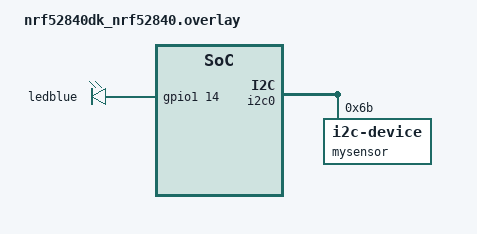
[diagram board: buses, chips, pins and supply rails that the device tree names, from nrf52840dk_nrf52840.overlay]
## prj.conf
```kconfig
#
# Copyright (c) 2019 Nordic Semiconductor ASA
#
# SPDX-License-Identifier: LicenseRef-Nordic-5-Clause
#
CONFIG_NCS_SAMPLES_DEFAULTS=y

CONFIG_BT=y
CONFIG_BT_DEBUG_LOG=y
CONFIG_BT_MAX_CONN=2
CONFIG_BT_MAX_PAIRED=2
CONFIG_BT_L2CAP_TX_BUF_COUNT=5
CONFIG_BT_PERIPHERAL=y
CONFIG_BT_DEVICE_NAME="Saul_HIDS_mouse"
CONFIG_BT_DEVICE_APPEARANCE=962

CONFIG_BT_BAS=y
CONFIG_BT_HIDS=y
CONFIG_BT_HIDS_MAX_CLIENT_COUNT=2
CONFIG_BT_GATT_UUID16_POOL_SIZE=40
CONFIG_BT_GATT_CHRC_POOL_SIZE=20

CONFIG_BT_CONN_CTX=y

CONFIG_BT_DIS=y
CONFIG_BT_DIS_PNP=y
CONFIG_BT_DIS_MANUF="NordicSemiconductor"
CONFIG_BT_DIS_PNP_VID_SRC=2
CONFIG_BT_DIS_PNP_VID=0x1915
CONFIG_BT_DIS_PNP_PID=0xEEEE
CONFIG_BT_DIS_PNP_VER=0x0100

CONFIG_MAIN_STACK_SIZE=1536
CONFIG_SYSTEM_WORKQUEUE_STACK_SIZE=2048

CONFIG_DK_LIBRARY=y


# Enable the UART driver
#CONFIG_UART_ASYNC_API=y
#CONFIG_NRFX_UARTE0=y
#CONFIG_NRFX_UARTE1=y
CONFIG_SERIAL=y
CONFIG_GPIO=y
CONFIG_I2C=y
CONFIG_CBPRINTF_FP_SUPPORT=y
```

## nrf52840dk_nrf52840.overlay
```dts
// To get started, press Ctrl+Space to bring up the completion menu and view the available nodes.

// You can also use the buttons in the sidebar to perform actions on nodes.
// Actions currently available include:

// * Enabling / disabling the node
// * Adding the bus to a bus
// * Removing the node
// * Connecting ADC channels

// For more help, browse the DeviceTree documentation at https://docs.zephyrproject.org/latest/guides/dts/index.html
// You can also visit the nRF DeviceTree extension documentation at https://nrfconnect.github.io/vscode-nrf-connect/devicetree/nrfdevicetree.html

/ {
	leds {
		ledblue {
			gpios = <&gpio1 14 0>;
		};
	};
};


/ {
	aliases {
		ledblue = &{/leds/ledblue/};       		
	};
};

&uart0_default {
	group2 {
		psels = <NRF_PSEL(UART_CTS, 0, 7)>, <NRF_PSEL(UART_RX, 0, 24)>;
        bias-pull-up;
	};
};

&uart0_default {
	group1 {
		psels = <NRF_PSEL(UART_TX, 0, 25)>, <NRF_PSEL(UART_RTS, 0, 5)>;
	};
};


&i2c0_default {
	group1 {
		psels = <NRF_PSEL(TWIM_SDA, 0, 6)>, <NRF_PSEL(TWIM_SCL, 0, 26)>;
	};
};

&i2c0 {  
    mysensor: mysensor@6B{
        compatible = "i2c-device";
        status = "okay";
        reg = < 0x6B >;
    };
};
```

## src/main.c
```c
/*
 * Copyright (c) 2018 Nordic Semiconductor ASA
 *
 * SPDX-License-Identifier: LicenseRef-Nordic-5-Clause
 */

#include <zephyr/types.h>
#include <stddef.h>
#include <string.h>
#include <errno.h>
#include <zephyr/sys/printk.h>
#include <zephyr/sys/byteorder.h>
#include <zephyr/kernel.h>
#include <zephyr/drivers/gpio.h>
#include <soc.h>
#include <assert.h>

#include <zephyr/settings/settings.h>

#include <zephyr/bluetooth/bluetooth.h>
#include <zephyr/bluetooth/hci.h>
#include <zephyr/bluetooth/conn.h>
#include <zephyr/bluetooth/uuid.h>
#include <zephyr/bluetooth/gatt.h>

#include <zephyr/bluetooth/services/bas.h>
#include <bluetooth/services/hids.h>
#include <zephyr/bluetooth/services/dis.h>
//#include <dk_buttons_and_leds.h>

/*Sauls code*/
#include <stdlib.h>
#include "pin_manager.h"
#include "ism330.h"

#define SLEEP_TIME   500

#define FLAG_MOVEMENT 0
#define FLAG_SCROLL 1
#define FLAG_BUTTON 2

int ISMupdate(void);
void mouse_scroll_send(int8_t scroll);
/*Sauls code ends here*/


#define DEVICE_NAME     CONFIG_BT_DEVICE_NAME
#define DEVICE_NAME_LEN (sizeof(DEVICE_NAME) - 1)

#define BASE_USB_HID_SPEC_VERSION   0x0101

/* Number of pixels by which the cursor is moved when a button is pushed. */
#define MOVEMENT_SPEED              5
/* Number of input reports in this application. */
#define INPUT_REPORT_COUNT          3
/* Length of Mouse Input Report containing button data. */
#define INPUT_REP_BUTTONS_LEN       3
/* Length of Mouse Input Report containing movement data. */
#define INPUT_REP_MOVEMENT_LEN      3
/* Length of Mouse Input Report containing media player data. */
#define INPUT_REP_MEDIA_PLAYER_LEN  1
/* Index of Mouse Input Report containing button data. */
#define INPUT_REP_BUTTONS_INDEX     0
/* Index of Mouse Input Report containing movement data. */
#define INPUT_REP_MOVEMENT_INDEX    1
/* Index of Mouse Input Report containing media player data. */
#define INPUT_REP_MPLAYER_INDEX     2
/* Id of reference to Mouse Input Report containing button data. */
#define INPUT_REP_REF_BUTTONS_ID    1
/* Id of reference to Mouse Input Report containing movement data. */
#define INPUT_REP_REF_MOVEMENT_ID   2
/* Id of reference to Mouse Input Report containing media player data. */
#define INPUT_REP_REF_MPLAYER_ID    3

/* HIDs queue size. */
#define HIDS_QUEUE_SIZE 10

/* Key used to move cursor left */
#define KEY_LEFT_MASK   DK_BTN1_MSK
/* Key used to move cursor up */
#define KEY_UP_MASK     DK_BTN2_MSK
/* Key used to move cursor right */
#define KEY_RIGHT_MASK  DK_BTN3_MSK
/* Key used to move cursor down */
#define KEY_DOWN_MASK   DK_BTN4_MSK

/* Key used to accept or reject passkey value */
#define KEY_PAIRING_ACCEPT DK_BTN1_MSK
#define KEY_PAIRING_REJECT DK_BTN2_MSK

/* HIDS instance. */
BT_HIDS_DEF(hids_obj,
	    INPUT_REP_BUTTONS_LEN,
	    INPUT_REP_MOVEMENT_LEN,
	    INPUT_REP_MEDIA_PLAYER_LEN);

static struct k_work hids_work;
struct mouse_pos {
	int16_t x_val;
	int16_t y_val;
	/* Sauls code starts here */
	int16_t scroll;
	uint8_t buttons;
	uint8_t flag;
	/* Sauls code ends here*/
};

/* Mouse movement queue. */
K_MSGQ_DEFINE(hids_queue,
	      sizeof(struct mouse_pos),
	      HIDS_QUEUE_SIZE,
	      4);

#if CONFIG_BT_DIRECTED_ADVERTISING
/* Bonded address queue. */
K_MSGQ_DEFINE(bonds_queue,
	      sizeof(bt_addr_le_t),
	      CONFIG_BT_MAX_PAIRED,
	      4);
#endif

static const struct bt_data ad[] = {
	BT_DATA_BYTES(BT_DATA_GAP_APPEARANCE,
		      (CONFIG_BT_DEVICE_APPEARANCE >> 0) & 0xff,
		      (CONFIG_BT_DEVICE_APPEARANCE >> 8) & 0xff),
	BT_DATA_BYTES(BT_DATA_FLAGS, (BT_LE_AD_GENERAL | BT_LE_AD_NO_BREDR)),
	BT_DATA_BYTES(BT_DATA_UUID16_ALL, BT_UUID_16_ENCODE(BT_UUID_HIDS_VAL),
					  BT_UUID_16_ENCODE(BT_UUID_BAS_VAL)),
};

static const struct bt_data sd[] = {
	BT_DATA(BT_DATA_NAME_COMPLETE, DEVICE_NAME, DEVICE_NAME_LEN),
};

static struct conn_mode {
	struct bt_conn *conn;
	bool in_boot_mode;
} conn_mode[CONFIG_BT_HIDS_MAX_CLIENT_COUNT];

static struct k_work adv_work;

static struct k_work pairing_work;
struct pairing_data_mitm {
	struct bt_conn *conn;
	unsigned int passkey;
};

K_MSGQ_DEFINE(mitm_queue,
	      sizeof(struct pairing_data_mitm),
	      CONFIG_BT_HIDS_MAX_CLIENT_COUNT,
	      4);

#if CONFIG_BT_DIRECTED_ADVERTISING
static void bond_find(const struct bt_bond_info *info, void *user_data)
{
	int err;

	/* Filter already connected peers. */
	for (size_t i = 0; i < CONFIG_BT_HIDS_MAX_CLIENT_COUNT; i++) {
		if (conn_mode[i].conn) {
			const bt_addr_le_t *dst =
				bt_conn_get_dst(conn_mode[i].conn);

			if (!bt_addr_le_cmp(&info->addr, dst)) {
				return;
			}
		}
	}

	err = k_msgq_put(&bonds_queue, (void *) &info->addr, K_NO_WAIT);
	if (err) {
		printk("No space in the queue for the bond.\n");
	}
}
#endif

static void advertising_continue(void)
{
	struct bt_le_adv_param adv_param;

#if CONFIG_BT_DIRECTED_ADVERTISING
	bt_addr_le_t addr;

	if (!k_msgq_get(&bonds_queue, &addr, K_NO_WAIT)) {
		char addr_buf[BT_ADDR_LE_STR_LEN];

		adv_param = *BT_LE_ADV_CONN_DIR(&addr);
		adv_param.options |= BT_LE_ADV_OPT_DIR_ADDR_RPA;

		int err = bt_le_adv_start(&adv_param, NULL, 0, NULL, 0);

		if (err) {
			printk("Directed advertising failed to start\n");
			return;
		}

		bt_addr_le_to_str(&addr, addr_buf, BT_ADDR_LE_STR_LEN);
		printk("Direct advertising to %s started\n", addr_buf);
	} else
#endif
	{
		int err;

		adv_param = *BT_LE_ADV_CONN;
		adv_param.options |= BT_LE_ADV_OPT_ONE_TIME;
		err = bt_le_adv_start(&adv_param, ad, ARRAY_SIZE(ad),
				  sd, ARRAY_SIZE(sd));
		if (err) {
			printk("Advertising failed to start (err %d)\n", err);
			return;
		}

		printk("Regular advertising started\n");
	}
}

static void advertising_start(void)
{
#if CONFIG_BT_DIRECTED_ADVERTISING
	k_msgq_purge(&bonds_queue);
	bt_foreach_bond(BT_ID_DEFAULT, bond_find, NULL);
#endif

	k_work_submit(&adv_work);
}

static void advertising_process(struct k_work *work)
{
	advertising_continue();
}

static void pairing_process(struct k_work *work)
{
	int err;
	struct pairing_data_mitm pairing_data;

	char addr[BT_ADDR_LE_STR_LEN];

	err = k_msgq_peek(&mitm_queue, &pairing_data);
	if (err) {
		return;
	}

	bt_addr_le_to_str(bt_conn_get_dst(pairing_data.conn),
			  addr, sizeof(addr));

	printk("Passkey for %s: %06u\n", addr, pairing_data.passkey);
	printk("Press Button 1 to confirm, Button 2 to reject.\n");
}


static void insert_conn_object(struct bt_conn *conn)
{
	for (size_t i = 0; i < CONFIG_BT_HIDS_MAX_CLIENT_COUNT; i++) {
		if (!conn_mode[i].conn) {
			conn_mode[i].conn = conn;
			conn_mode[i].in_boot_mode = false;

			return;
		}
	}

	printk("Connection object could not be inserted %p\n", conn);
}


static bool is_conn_slot_free(void)
{
	for (size_t i = 0; i < CONFIG_BT_HIDS_MAX_CLIENT_COUNT; i++) {
		if (!conn_mode[i].conn) {
			return true;
		}
	}

	return false;
}


static void connected(struct bt_conn *conn, uint8_t err)
{
	char addr[BT_ADDR_LE_STR_LEN];

	bt_addr_le_to_str(bt_conn_get_dst(conn), addr, sizeof(addr));

	if (err) {
		if (err == BT_HCI_ERR_ADV_TIMEOUT) {
			printk("Direct advertising to %s timed out\n", addr);
			k_work_submit(&adv_work);
		} else {
			printk("Failed to connect to %s (%u)\n", addr, err);
		}
		return;
	}

	printk("Connected %s\n", addr);

	err = bt_hids_connected(&hids_obj, conn);

	if (err) {
		printk("Failed to notify HID service about connection\n");
		return;
	}

	insert_conn_object(conn);

	if (is_conn_slot_free()) {
		advertising_start();
	}
}


static void disconnected(struct bt_conn *conn, uint8_t reason)
{
	int err;
	char addr[BT_ADDR_LE_STR_LEN];

	bt_addr_le_to_str(bt_conn_get_dst(conn), addr, sizeof(addr));

	printk("Disconnected from %s (reason %u)\n", addr, reason);

	err = bt_hids_disconnected(&hids_obj, conn);

	if (err) {
		printk("Failed to notify HID service about disconnection\n");
	}

	for (size_t i = 0; i < CONFIG_BT_HIDS_MAX_CLIENT_COUNT; i++) {
		if (conn_mode[i].conn == conn) {
			conn_mode[i].conn = NULL;
			break;
		}
	}

	advertising_start();
}


#ifdef CONFIG_BT_HIDS_SECURITY_ENABLED
static void security_changed(struct bt_conn *conn, bt_security_t level,
			     enum bt_security_err err)
{
	char addr[BT_ADDR_LE_STR_LEN];

	bt_addr_le_to_str(bt_conn_get_dst(conn), addr, sizeof(addr));

	if (!err) {
		printk("Security changed: %s level %u\n", addr, level);
	} else {
		printk("Security failed: %s level %u err %d\n", addr, level,
			err);
	}
}
#endif


BT_CONN_CB_DEFINE(conn_callbacks) = {
	.connected = connected,
	.disconnected = disconnected,
#ifdef CONFIG_BT_HIDS_SECURITY_ENABLED
	.security_changed = security_changed,
#endif
};


static void hids_pm_evt_handler(enum bt_hids_pm_evt evt,
				struct bt_conn *conn)
{
	char addr[BT_ADDR_LE_STR_LEN];
	size_t i;

	for (i = 0; i < CONFIG_BT_HIDS_MAX_CLIENT_COUNT; i++) {
		if (conn_mode[i].conn == conn) {
			break;
		}
	}

	if (i >= CONFIG_BT_HIDS_MAX_CLIENT_COUNT) {
		return;
	}

	bt_addr_le_to_str(bt_conn_get_dst(conn), addr, sizeof(addr));

	switch (evt) {
	case BT_HIDS_PM_EVT_BOOT_MODE_ENTERED:
		printk("Boot mode entered %s\n", addr);
		conn_mode[i].in_boot_mode = true;
		break;

	case BT_HIDS_PM_EVT_REPORT_MODE_ENTERED:
		printk("Report mode entered %s\n", addr);
		conn_mode[i].in_boot_mode = false;
		break;

	default:
		break;
	}
}


static void hid_init(void)
{
	int err;
	struct bt_hids_init_param hids_init_param = { 0 };
	struct bt_hids_inp_rep *hids_inp_rep;
	static const uint8_t mouse_movement_mask[DIV_ROUND_UP(INPUT_REP_MOVEMENT_LEN, 8)] = {0};

	static const uint8_t report_map[] = {
		0x05, 0x01,     /* Usage Page (Generic Desktop) */
		0x09, 0x02,     /* Usage (Mouse) */

		0xA1, 0x01,     /* Collection (Application) */

		/* Report ID 1: Mouse buttons + scroll/pan */
		0x85, 0x01,       /* Report Id 1 */
		0x09, 0x01,       /* Usage (Pointer) */
		0xA1, 0x00,       /* Collection (Physical) */
		0x95, 0x05,       /* Report Count (3) */
		0x75, 0x01,       /* Report Size (1) */
		0x05, 0x09,       /* Usage Page (Buttons) */
		0x19, 0x01,       /* Usage Minimum (01) */
		0x29, 0x05,       /* Usage Maximum (05) */
		0x15, 0x00,       /* Logical Minimum (0) */
		0x25, 0x01,       /* Logical Maximum (1) */
		0x81, 0x02,       /* Input (Data, Variable, Absolute) */
		0x95, 0x01,       /* Report Count (1) */
		0x75, 0x03,       /* Report Size (3) */
		0x81, 0x01,       /* Input (Constant) for padding */
		0x75, 0x08,       /* Report Size (8) */
		0x95, 0x01,       /* Report Count (1) */
		0x05, 0x01,       /* Usage Page (Generic Desktop) */
		0x09, 0x38,       /* Usage (Wheel) */
		0x15, 0x81,       /* Logical Minimum (-127) */
		0x25, 0x7F,       /* Logical Maximum (127) */
		0x81, 0x06,       /* Input (Data, Variable, Relative) */
		0x05, 0x0C,       /* Usage Page (Consumer) */
		0x0A, 0x38, 0x02, /* Usage (AC Pan) */
		0x95, 0x01,       /* Report Count (1) */
		0x81, 0x06,       /* Input (Data,Value,Relative,Bit Field) */
		0xC0,             /* End Collection (Physical) */

		/* Report ID 2: Mouse motion */
		0x85, 0x02,       /* Report Id 2 */
		0x09, 0x01,       /* Usage (Pointer) */
		0xA1, 0x00,       /* Collection (Physical) */
		0x75, 0x0C,       /* Report Size (12) */
		0x95, 0x02,       /* Report Count (2) */
		0x05, 0x01,       /* Usage Page (Generic Desktop) */
		0x09, 0x30,       /* Usage (X) */
		0x09, 0x31,       /* Usage (Y) */
		0x16, 0x01, 0xF8, /* Logical maximum (2047) */
		0x26, 0xFF, 0x07, /* Logical minimum (-2047) */
		0x81, 0x06,       /* Input (Data, Variable, Relative) */
		0xC0,             /* End Collection (Physical) */
		0xC0,             /* End Collection (Application) */

		/* Report ID 3: Advanced buttons */
		0x05, 0x0C,       /* Usage Page (Consumer) */
		0x09, 0x01,       /* Usage (Consumer Control) */
		0xA1, 0x01,       /* Collection (Application) */
		0x85, 0x03,       /* Report Id (3) */
		0x15, 0x00,       /* Logical minimum (0) */
		0x25, 0x01,       /* Logical maximum (1) */
		0x75, 0x01,       /* Report Size (1) */
		0x95, 0x01,       /* Report Count (1) */

		0x09, 0xCD,       /* Usage (Play/Pause) */
		0x81, 0x06,       /* Input (Data,Value,Relative,Bit Field) */
		0x0A, 0x83, 0x01, /* Usage (Consumer Control Configuration) */
		0x81, 0x06,       /* Input (Data,Value,Relative,Bit Field) */
		0x09, 0xB5,       /* Usage (Scan Next Track) */
		0x81, 0x06,       /* Input (Data,Value,Relative,Bit Field) */
		0x09, 0xB6,       /* Usage (Scan Previous Track) */
		0x81, 0x06,       /* Input (Data,Value,Relative,Bit Field) */

		0x09, 0xEA,       /* Usage (Volume Down) */
		0x81, 0x06,       /* Input (Data,Value,Relative,Bit Field) */
		0x09, 0xE9,       /* Usage (Volume Up) */
		0x81, 0x06,       /* Input (Data,Value,Relative,Bit Field) */
		0x0A, 0x25, 0x02, /* Usage (AC Forward) */
		0x81, 0x06,       /* Input (Data,Value,Relative,Bit Field) */
		0x0A, 0x24, 0x02, /* Usage (AC Back) */
		0x81, 0x06,       /* Input (Data,Value,Relative,Bit Field) */
		0xC0              /* End Collection */
	};

	hids_init_param.rep_map.data = report_map;
	hids_init_param.rep_map.size = sizeof(report_map);

	hids_init_param.info.bcd_hid = BASE_USB_HID_SPEC_VERSION;
	hids_init_param.info.b_country_code = 0x00;
	hids_init_param.info.flags = (BT_HIDS_REMOTE_WAKE |
				      BT_HIDS_NORMALLY_CONNECTABLE);

	hids_inp_rep = &hids_init_param.inp_rep_group_init.reports[0];
	hids_inp_rep->size = INPUT_REP_BUTTONS_LEN;
	hids_inp_rep->id = INPUT_REP_REF_BUTTONS_ID;
	hids_init_param.inp_rep_group_init.cnt++;

	hids_inp_rep++;
	hids_inp_rep->size = INPUT_REP_MOVEMENT_LEN;
	hids_inp_rep->id = INPUT_REP_REF_MOVEMENT_ID;
	hids_inp_rep->rep_mask = mouse_movement_mask;
	hids_init_param.inp_rep_group_init.cnt++;

	hids_inp_rep++;
	hids_inp_rep->size = INPUT_REP_MEDIA_PLAYER_LEN;
	hids_inp_rep->id = INPUT_REP_REF_MPLAYER_ID;
	hids_init_param.inp_rep_group_init.cnt++;

	hids_init_param.is_mouse = true;
	hids_init_param.pm_evt_handler = hids_pm_evt_handler;

	err = bt_hids_init(&hids_obj, &hids_init_param);
	__ASSERT(err == 0, "HIDS initialization failed\n");
}


static void mouse_movement_send(int16_t x_delta, int16_t y_delta)
{
	for (size_t i = 0; i < CONFIG_BT_HIDS_MAX_CLIENT_COUNT; i++) {

		if (!conn_mode[i].conn) {
			continue;
		}

		if (conn_mode[i].in_boot_mode) {
			x_delta = MAX(MIN(x_delta, SCHAR_MAX), SCHAR_MIN);
			y_delta = MAX(MIN(y_delta, SCHAR_MAX), SCHAR_MIN);

			bt_hids_boot_mouse_inp_rep_send(&hids_obj,
							     conn_mode[i].conn,
							     NULL,
							     (int8_t) x_delta,
							     (int8_t) y_delta,
							     NULL);
		} else {
			uint8_t x_buff[2];
			uint8_t y_buff[2];
			uint8_t buffer[INPUT_REP_MOVEMENT_LEN];

			int16_t x = MAX(MIN(x_delta, 0x07ff), -0x07ff);
			int16_t y = MAX(MIN(y_delta, 0x07ff), -0x07ff);

			/* Convert to little-endian. */
			sys_put_le16(x, x_buff);
			sys_put_le16(y, y_buff);

			/* Encode report. */
			BUILD_ASSERT(sizeof(buffer) == 3,
					 "Only 2 axis, 12-bit each, are supported");

			buffer[0] = x_buff[0];
			buffer[1] = (y_buff[0] << 4) | (x_buff[1] & 0x0f);
			buffer[2] = (y_buff[1] << 4) | (y_buff[0] >> 4);


			bt_hids_inp_rep_send(&hids_obj, conn_mode[i].conn,
						  INPUT_REP_MOVEMENT_INDEX,
						  buffer, sizeof(buffer), NULL);
		}
	}
}


static void mouse_handler(struct k_work *work)
{
	struct mouse_pos pos;

	while (!k_msgq_get(&hids_queue, &pos, K_NO_WAIT)) {
		switch (pos.flag) {
			case FLAG_MOVEMENT:
					mouse_movement_send(pos.x_val, pos.y_val);				
					break;
			case FLAG_SCROLL:
					mouse_scroll_send(pos.scroll);
					break;		
			default:
					break;
		}
		
		//mouse_movement_send(pos.x_val, pos.y_val);
	}
}

#if defined(CONFIG_BT_HIDS_SECURITY_ENABLED)
static void auth_passkey_display(struct bt_conn *conn, unsigned int passkey)
{
	char addr[BT_ADDR_LE_STR_LEN];

	bt_addr_le_to_str(bt_conn_get_dst(conn), addr, sizeof(addr));

	printk("Passkey for %s: %06u\n", addr, passkey);
}


static void auth_passkey_confirm(struct bt_conn *conn, unsigned int passkey)
{
	int err;

	struct pairing_data_mitm pairing_data;

	pairing_data.conn    = bt_conn_ref(conn);
	pairing_data.passkey = passkey;

	err = k_msgq_put(&mitm_queue, &pairing_data, K_NO_WAIT);
	if (err) {
		printk("Pairing queue is full. Purge previous data.\n");
	}

	/* In the case of multiple pairing requests, trigger
	 * pairing confirmation which needed user interaction only
	 * once to avoid display information about all devices at
	 * the same time. Passkey confirmation for next devices will
	 * be proccess from queue after handling the earlier ones.
	 */
	if (k_msgq_num_used_get(&mitm_queue) == 1) {
		k_work_submit(&pairing_work);
	}
}


static void auth_cancel(struct bt_conn *conn)
{
	char addr[BT_ADDR_LE_STR_LEN];

	bt_addr_le_to_str(bt_conn_get_dst(conn), addr, sizeof(addr));

	printk("Pairing cancelled: %s\n", addr);
}


static void pairing_complete(struct bt_conn *conn, bool bonded)
{
	char addr[BT_ADDR_LE_STR_LEN];

	bt_addr_le_to_str(bt_conn_get_dst(conn), addr, sizeof(addr));

	printk("Pairing completed: %s, bonded: %d\n", addr, bonded);
}


static void pairing_failed(struct bt_conn *conn, enum bt_security_err reason)
{
	char addr[BT_ADDR_LE_STR_LEN];
	struct pairing_data_mitm pairing_data;

	if (k_msgq_peek(&mitm_queue, &pairing_data) != 0) {
		return;
	}

	if (pairing_data.conn == conn) {
		bt_conn_unref(pairing_data.conn);
		k_msgq_get(&mitm_queue, &pairing_data, K_NO_WAIT);
	}

	bt_addr_le_to_str(bt_conn_get_dst(conn), addr, sizeof(addr));

	printk("Pairing failed conn: %s, reason %d\n", addr, reason);
}


static struct bt_conn_auth_cb conn_auth_callbacks = {
	.passkey_display = auth_passkey_display,
	.passkey_confirm = auth_passkey_confirm,
	.cancel = auth_cancel,
};

static struct bt_conn_auth_info_cb conn_auth_info_callbacks = {
	.pairing_complete = pairing_complete,
	.pairing_failed = pairing_failed
};
#else
static struct bt_conn_auth_cb conn_auth_callbacks;
static struct bt_conn_auth_info_cb conn_auth_info_callbacks;
#endif /* defined(CONFIG_BT_HIDS_SECURITY_ENABLED) */


static void num_comp_reply(bool accept)
{
	struct pairing_data_mitm pairing_data;
	struct bt_conn *conn;

	if (k_msgq_get(&mitm_queue, &pairing_data, K_NO_WAIT) != 0) {
		return;
	}

	conn = pairing_data.conn;

	if (accept) {
		bt_conn_auth_passkey_confirm(conn);
		printk("Numeric Match, conn %p\n", conn);
	} else {
		bt_conn_auth_cancel(conn);
		printk("Numeric Reject, conn %p\n", conn);
	}

	bt_conn_unref(pairing_data.conn);

	if (k_msgq_num_used_get(&mitm_queue)) {
		k_work_submit(&pairing_work);
	}
}

/*

void button_changed(uint32_t button_state, uint32_t has_changed)
{
	bool data_to_send = false;
	struct mouse_pos pos;
	uint32_t buttons = button_state & has_changed;

	memset(&pos, 0, sizeof(struct mouse_pos));

	if (IS_ENABLED(CONFIG_BT_HIDS_SECURITY_ENABLED)) {
		if (k_msgq_num_used_get(&mitm_queue)) {
			if (buttons & KEY_PAIRING_ACCEPT) {
				num_comp_reply(true);

				return;
			}

			if (buttons & KEY_PAIRING_REJECT) {
				num_comp_reply(false);

				return;
			}
		}
	}

	if (buttons & KEY_LEFT_MASK) {
		pos.x_val -= MOVEMENT_SPEED;
		printk("%s(): left\n", __func__);
		data_to_send = true;
	}
	if (buttons & KEY_UP_MASK) {
		pos.y_val -= MOVEMENT_SPEED;
		printk("%s(): up\n", __func__);
		data_to_send = true;
	}
	if (buttons & KEY_RIGHT_MASK) {
		pos.x_val += MOVEMENT_SPEED;
		printk("%s(): right\n", __func__);
		data_to_send = true;
	}
	if (buttons & KEY_DOWN_MASK) {
		pos.y_val += MOVEMENT_SPEED;
		printk("%s(): down\n", __func__);
		data_to_send = true;
	}

	if (data_to_send) {
		int err;

		err = k_msgq_put(&hids_queue, &pos, K_NO_WAIT);
		if (err) {
			printk("No space in the queue for button pressed\n");
			return;
		}
		if (k_msgq_num_used_get(&hids_queue) == 1) {
			k_work_submit(&hids_work);
		}
	}
}


void configure_buttons(void)
{
	int err;

	err = dk_buttons_init(button_changed);
	if (err) {
		printk("Cannot init buttons (err: %d)\n", err);
	}
}
*/

static void bas_notify(void)
{
	uint8_t battery_level = bt_bas_get_battery_level();

	battery_level--;

	if (!battery_level) {
		battery_level = 100U;
	}

	bt_bas_set_battery_level(battery_level);
}


int ISMupdate(void)
{
  struct mouse_pos pos;
  int ret;

  ret = getRawAngDeg();

  if (ret) {
		pos.x_val = -ISM_gyro_angle.y;
		pos.y_val = -ISM_gyro_angle.r;
		pos.scroll = ISM_gyro_angle.p;
  
		if (IS_ENABLED(CONFIG_BT_HIDS_SECURITY_ENABLED)) {
			if (k_msgq_num_used_get(&mitm_queue)) {
				if (abs(pos.y_val) > 20 ) {
					num_comp_reply(true);
					printk("confimed passkey!\n");
					return;
				}
				/*
				if (buttons & KEY_PAIRING_REJECT) {
					num_comp_reply(false);
					return;
				} */
			}
		}
  
  
		// Detect if there is a scroll or mouse movement
    	if ( abs(pos.scroll ) >  abs(ISM_gyro_angle.r) && abs(ISM_gyro_angle.p) >  abs(ISM_gyro_angle.y) ) {
			pos.flag = FLAG_SCROLL;
    	} else {
			pos.flag = FLAG_MOVEMENT;
		} 

		ret = k_msgq_put(&hids_queue, &pos, K_NO_WAIT);
		if (ret) {
			printk("No space in the queue for button pressed\n");
		} else if (k_msgq_num_used_get(&hids_queue) == 1) {
			k_work_submit(&hids_work);
		}

		return 1;
  } else {
		return 0;
  }
}

void mouse_scroll_send(int8_t scroll)
{
	for (size_t i = 0; i < CONFIG_BT_HIDS_MAX_CLIENT_COUNT; i++) {

		if (!conn_mode[i].conn) {
			continue;
		}
		
		uint8_t buffer[INPUT_REP_BUTTONS_LEN];
		
		buffer[0] = 0;
		buffer[1] = (uint8_t)scroll;
		buffer[2] = 0;

		bt_hids_inp_rep_send(&hids_obj, conn_mode[i].conn,
						  INPUT_REP_BUTTONS_INDEX,
						  buffer, sizeof(buffer), NULL);

	}
}

void logBattery(void)
{
	static uint8_t battery_notify = 0;

	battery_notify++;
	if (battery_notify >= 100) {
		battery_notify = 0;
		bas_notify();
	}
}

int main(void)
{
	int err;

	printk("Starting Bluetooth Peripheral HIDS mouse example\n");

	if (IS_ENABLED(CONFIG_BT_HIDS_SECURITY_ENABLED)) {
		err = bt_conn_auth_cb_register(&conn_auth_callbacks);
		if (err) {
			printk("Failed to register authorization callbacks.\n");
			return 0;
		}

		err = bt_conn_auth_info_cb_register(&conn_auth_info_callbacks);
		if (err) {
			printk("Failed to register authorization info callbacks.\n");
			return 0;
		}
	}

	/* DIS initialized at system boot with SYS_INIT macro. */
	hid_init();

	err = bt_enable(NULL);
	if (err) {
		printk("Bluetooth init failed (err %d)\n", err);
		return 0;
	}

	printk("Bluetooth initialized\n");

	k_work_init(&hids_work, mouse_handler);
	k_work_init(&adv_work, advertising_process);
	if (IS_ENABLED(CONFIG_BT_HIDS_SECURITY_ENABLED)) {
		k_work_init(&pairing_work, pairing_process);
	}

	if (IS_ENABLED(CONFIG_SETTINGS)) {
		settings_load();
	}

	advertising_start();

	//configure_buttons();

	PIN_MANAGER_Initialize();
	ISM_Initialize();

	LEDBLUE_SetHigh();
	k_msleep(SLEEP_TIME);
	LEDBLUE_SetLow();

	while (1) {
		ISMupdate();
		k_msleep(SLEEP_MS);	
		//k_sleep(K_SECONDS(1));
		/* Battery level simulation */
		//bas_notify();
		logBattery();
	}
}
```

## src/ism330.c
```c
#include "ism330.h"
#include <stdlib.h>
//#include "math.h"

int16_t data_raw_acceleration[3];
int16_t data_raw_angular_rate[3];
//static int16_t data_raw_temperature;
float acceleration_mg[3];
float angular_rate_mdps[3];
//static float temperature_degC;
uint8_t whoamI, rst;
//static uint8_t tx_buffer[1000];

gyro_angle ISM_gyro_angle;
stmdev_ctx_t dev_ctx;

int32_t platform_write(void *handle, uint8_t reg, const uint8_t *bufp,
                              uint16_t len)
{
#if defined(NUCLEO_F411RE)
  HAL_I2C_Mem_Write(handle, ISM330DHCX_I2C_ADD_H, reg,
                    I2C_MEMADD_SIZE_8BIT, (uint8_t*) bufp, len, 1000);
#elif defined(STEVAL_MKI109V3)
  HAL_GPIO_WritePin(CS_up_GPIO_Port, CS_up_Pin, GPIO_PIN_RESET);
  HAL_SPI_Transmit(handle, &reg, 1, 1000);
  HAL_SPI_Transmit(handle, (uint8_t*) bufp, len, 1000);
  HAL_GPIO_WritePin(CS_up_GPIO_Port, CS_up_Pin, GPIO_PIN_SET);
#elif defined(SPC584B_DIS)
  i2c_lld_write(handle,  ISM330DHCX_I2C_ADD_H & 0xFE, reg,
               (uint8_t*) bufp, len);
#endif

	uint8_t buffer[16];
	uint8_t i,aux;
	int32_t ret; 

	buffer[0] = reg;

	aux = 1;
	for (i = 0; i < len; i++) {
		buffer[aux] = bufp[i];
		aux++;
	}
	//SPI_transaction(buffer, aux);

	ret = i2c_write_dt(&dev_i2c, buffer, aux);

	return 0;
}

/*
 * @brief  Read generic device register (platform dependent)
 *
 * @param  handle    customizable argument. In this examples is used in
 *                   order to select the correct sensor bus handler.
 * @param  reg       register to read
 * @param  bufp      pointer to buffer that store the data read
 * @param  len       number of consecutive register to read
 *
 */
int32_t platform_read(void *handle, uint8_t reg, uint8_t *bufp,
                             uint16_t len)
{
#if defined(NUCLEO_F411RE)
  HAL_I2C_Mem_Read(handle, ISM330DHCX_I2C_ADD_H, reg,
                   I2C_MEMADD_SIZE_8BIT, bufp, len, 1000);
#elif defined(STEVAL_MKI109V3)
  reg |= 0x80;
  HAL_GPIO_WritePin(CS_up_GPIO_Port, CS_up_Pin, GPIO_PIN_RESET);
  HAL_SPI_Transmit(handle, &reg, 1, 1000);
  HAL_SPI_Receive(handle, bufp, len, 1000);
  HAL_GPIO_WritePin(CS_up_GPIO_Port, CS_up_Pin, GPIO_PIN_SET);
#elif defined(SPC584B_DIS)
  i2c_lld_read(handle, ISM330DHCX_I2C_ADD_H & 0xFE, reg, bufp, len);
#endif

	uint8_t buffer[16];
	uint8_t i,aux;
	uint32_t ret;

	//uint8_t reading[1]= {0};
    uint8_t sensor_regs[1];
	
	sensor_regs[0] = reg;
	ret = i2c_write_read_dt(&dev_i2c,&sensor_regs[0],1,bufp,len);

	return 0;
}

int ISM_Initialize(void)
{
 	
	//printk("I2C Accel Tests\n");

	if (!device_is_ready(dev_i2c.bus)) {
		printk("I2C bus %s is not ready!\n\r",dev_i2c.bus->name);		
    return 0;
	}


	  /* Initialize mems driver interface */
	dev_ctx.write_reg = platform_write;
	dev_ctx.read_reg = platform_read;

	k_msleep(SLEEP_MS);

	/* Check device ID */
	ism330dhcx_device_id_get(&dev_ctx, &whoamI);
	printk("ISM whoiam %x\n", whoamI);

  /* Restore default configuration */
  ism330dhcx_reset_set(&dev_ctx, PROPERTY_ENABLE);
  do {
    ism330dhcx_reset_get(&dev_ctx, &rst);
    printk("ISM resetting dev %x\n", rst);
  } while (rst);

  /* Start device configuration. */
  ism330dhcx_device_conf_set(&dev_ctx, PROPERTY_ENABLE);
  
  /* Enable Block Data Update */
  ism330dhcx_block_data_update_set(&dev_ctx, PROPERTY_ENABLE);

  /* Set Output Data Rate */
  ism330dhcx_xl_data_rate_set(&dev_ctx, ISM330DHCX_XL_ODR_104Hz);
  ism330dhcx_gy_data_rate_set(&dev_ctx, ISM330DHCX_GY_ODR_104Hz);

  /* Set full scale */
  ism330dhcx_xl_full_scale_set(&dev_ctx, ISM330DHCX_2g);
  ism330dhcx_gy_full_scale_set(&dev_ctx, ISM330DHCX_2000dps);

  /* Configure filtering chain(No aux interface)
  *
  * Accelerometer - LPF1 + LPF2 path
  */
  ism330dhcx_xl_hp_path_on_out_set(&dev_ctx, ISM330DHCX_LP_ODR_DIV_100);
  ism330dhcx_xl_filter_lp2_set(&dev_ctx, PROPERTY_ENABLE);

  //ism330dhcx_g
  ism330dhcx_gy_lp1_bandwidth_set(&dev_ctx, ISM330DHCX_MEDIUM);
  ism330dhcx_gy_filter_lp1_set(&dev_ctx, PROPERTY_ENABLE);

}

void printRawAccel(void)
{
  uint8_t reg;

	ism330dhcx_xl_flag_data_ready_get(&dev_ctx, &reg);

	if (reg) {
    // Read acceleration field data
	  memset(data_raw_acceleration, 0x00, 3 * sizeof(int16_t));
	  ism330dhcx_acceleration_raw_get(&dev_ctx, data_raw_acceleration);
	  acceleration_mg[0] = ism330dhcx_from_fs2g_to_mg(data_raw_acceleration[0]);
	  acceleration_mg[1] = ism330dhcx_from_fs2g_to_mg(data_raw_acceleration[1]);
	  acceleration_mg[2] = ism330dhcx_from_fs2g_to_mg(data_raw_acceleration[2]);
	  //sprintf((char *)tx_buffer,"Acceleration [mg]:%4.2f\t%4.2f\t%4.2f\r\n", acceleration_mg[0], acceleration_mg[1], acceleration_mg[2]);
	  printf("Accel [mg]:%4.2f\t%4.2f\t%4.2f\r\n", acceleration_mg[0], acceleration_mg[1], acceleration_mg[2]);
	  //printf("Accel z [mg]:%4.2f\n", (acceleration_mg[2]+119));
  }

}

void printRawAng(void)
{
  uint8_t reg;

  ism330dhcx_gy_flag_data_ready_get(&dev_ctx, &reg);

	if (reg) {
    // Read angular rate field data
		memset(data_raw_angular_rate, 0x00, 3 * sizeof(int16_t));
		ism330dhcx_angular_rate_raw_get(&dev_ctx, data_raw_angular_rate);
		angular_rate_mdps[0] = ism330dhcx_from_fs2000dps_to_mdps(data_raw_angular_rate[0]);
		angular_rate_mdps[1] = ism330dhcx_from_fs2000dps_to_mdps(data_raw_angular_rate[1]);
		angular_rate_mdps[2] = ism330dhcx_from_fs2000dps_to_mdps(data_raw_angular_rate[2]);
		//printf("Angrate [mdps]:%4.2f\t%4.2f\t%4.2f\r\n", angular_rate_mdps[0], angular_rate_mdps[1], angular_rate_mdps[2]);
    //printf("Angrate [mdps]:%6.0f\t%6.0f\t%6.0f\r\n", angular_rate_mdps[0], angular_rate_mdps[1], angular_rate_mdps[2]);
    printf("Angrate [dps]:%3.1f\t%3.1f\t%3.1f\r\n", angular_rate_mdps[0]/1000, angular_rate_mdps[1]/1000, angular_rate_mdps[2]/1000);
  }

}

float_t gyro_fs2000dps_to_dps(int16_t lsb)
{
  //return ((float_t)lsb * 70.0f);
  return ((float_t)lsb * 0.07f);
}

int getRawAngDeg(void)
{
uint8_t reg;
int16_t p,r,y;

  ism330dhcx_gy_flag_data_ready_get(&dev_ctx, &reg);

	if (reg) {
    
		memset(data_raw_angular_rate, 0x00, 3 * sizeof(int16_t));
		ism330dhcx_angular_rate_raw_get(&dev_ctx, data_raw_angular_rate);
		angular_rate_mdps[0] = gyro_fs2000dps_to_dps(data_raw_angular_rate[0]);
		angular_rate_mdps[1] = gyro_fs2000dps_to_dps(data_raw_angular_rate[1]);
		angular_rate_mdps[2] = gyro_fs2000dps_to_dps(data_raw_angular_rate[2]);
		
    
//    printf("Angrate [dps]:%3.1f\t%3.1f\t%3.1f\r\n", angular_rate_mdps[0], angular_rate_mdps[1], angular_rate_mdps[2]);
    
    ISM_gyro_angle.r = angular_rate_mdps[0]; //Y movement mouse
    ISM_gyro_angle.p = angular_rate_mdps[1]; // to scroll wheel
    ISM_gyro_angle.y = angular_rate_mdps[2]; //X movement mouse

    if (abs(ISM_gyro_angle.r) || abs(ISM_gyro_angle.p) || abs(ISM_gyro_angle.y)) {
     // printf("Angrate [d]:%d\t%d\t%d\r\n", ISM_gyro_angle.r, ISM_gyro_angle.p, ISM_gyro_angle.y);
      return 1;
    }     
  }
  return 0;
}
```

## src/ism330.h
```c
#ifndef ISM330_H
#define ISM330_H

#include <zephyr/drivers/i2c.h>
#include "ism330dhcx_reg.h"

/* Private variables ---------------------------------------------------------*/
extern int16_t data_raw_acceleration[3];
extern int16_t data_raw_angular_rate[3];
//static int16_t data_raw_temperature;
extern float acceleration_mg[3];
extern float angular_rate_mdps[3];
//static float temperature_degC;
extern uint8_t whoamI, rst;
//static uint8_t tx_buffer[1000];

#define SLEEP_MS 50

#define I2C0_NODE DT_NODELABEL(mysensor)
static const struct i2c_dt_spec dev_i2c = I2C_DT_SPEC_GET(I2C0_NODE);

typedef struct gyro_angle_struct {
    int16_t r;
    int16_t p;
    int16_t y;
} gyro_angle;

extern gyro_angle ISM_gyro_angle;

extern stmdev_ctx_t dev_ctx;

int32_t platform_write(void *handle, uint8_t reg, const uint8_t *bufp, uint16_t len);
int32_t platform_read(void *handle, uint8_t reg, uint8_t *bufp, uint16_t len);

int ISM_Initialize(void);
void printRawAccel(void);
void printRawAng(void);
int getRawAngDeg(void);
//int ISMupdate(void);
float_t gyro_fs2000dps_to_dps(int16_t lsb);


#endif
```
